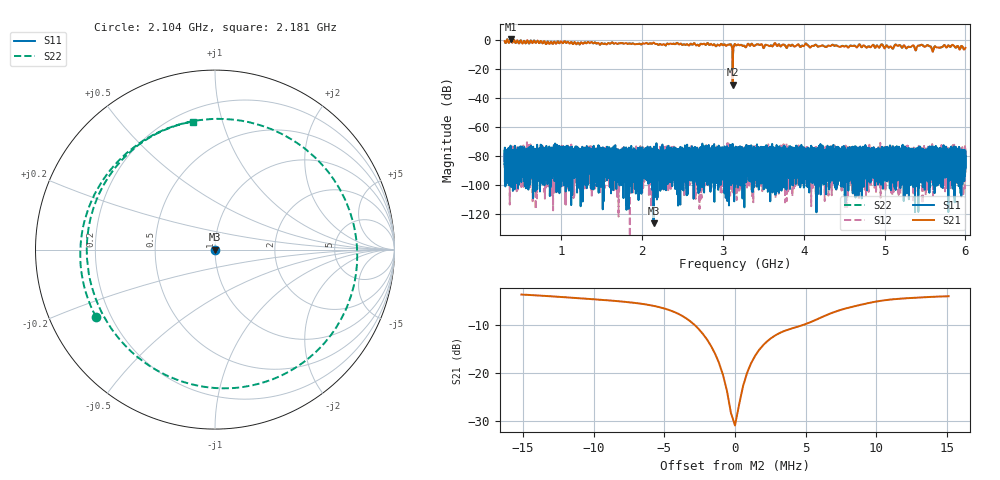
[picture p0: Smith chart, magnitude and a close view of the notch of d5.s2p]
!Agilent Technologies,N5230C,SG49000117,A.08.50.07
!Agilent N5230C: A.08.50.07
!Date: Sunday, March 17, 2024 02:38:13
!Correction: S11(Off)
!S21(Off)
!S12(Off)
!S22(Off)
!S2P File: Measurements: S11, S21, S12, S22:
# Hz S  RI  R 50
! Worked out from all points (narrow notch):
!   20001 points, 300 MHz to 6 GHz, reference 50 ohm
!   highest |S21| = 0.47 dB at 374.1 MHz (marker M1); lowest = -31.0 dB at 3.121 GHz (marker M2)
!   notch at M2: 27.5 dB deep, 2.53 MHz wide at half that depth
!   lowest |S11| = -126.5 dB at 2.142 GHz (marker M3), VSWR 1.00, Z = 50 - j4.68e-05 ohm
!   |S11| at or under -10 dB: start of sweep to end of sweep
!   |S22| runs from -31.0 to 0.5 dB; largest |S21 - S12| = 1.1
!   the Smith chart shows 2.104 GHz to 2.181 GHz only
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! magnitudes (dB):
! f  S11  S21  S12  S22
! 300 MHz  -76.6  -0.9  -84.2  -0.9
! 374.1 MHz  -82.2  0.5  -78.0  0.5
! 1.25 GHz  -82.1  -1.7  -88.6  -1.7
! 2.142 GHz  -126.5  -1.9  -80.2  -1.9
! 2.2 GHz  -77.5  -3.5  -82.1  -3.5
! 3.079 GHz  -76.9  -3.4  -88.3  -3.4
! 3.1 GHz  -79.9  -3.1  -79.5  -3.1
! 3.121 GHz  -71.8  -31.0  -79.1  -31.0
! 3.15 GHz  -75.7  -2.9  -81.8  -2.9
! 3.17 GHz  -77.9  -3.8  -78.8  -3.8
! 3.269 GHz  -86.8  -4.3  -79.4  -4.2
! 3.335 GHz  -80.6  -4.1  -85.7  -4.0
! 3.975 GHz  -83.2  -4.1  -100.7  -4.1
! 4.033 GHz  -82.4  -2.8  -89.8  -2.7
! 4.1 GHz  -84.4  -4.2  -78.6  -4.1
! 5.05 GHz  -82.2  -5.4  -76.9  -5.4
! 5.157 GHz  -83.3  -4.0  -80.1  -4.0
! 5.392 GHz  -92.0  -6.6  -84.1  -6.6
! 5.451 GHz  -91.9  -3.5  -78.9  -3.5
! 5.605 GHz  -91.5  -6.6  -80.4  -6.6
! 5.842 GHz  -79.1  -3.5  -77.7  -3.5
! 6 GHz  -80.2  -5.6  -78.1  -5.6
